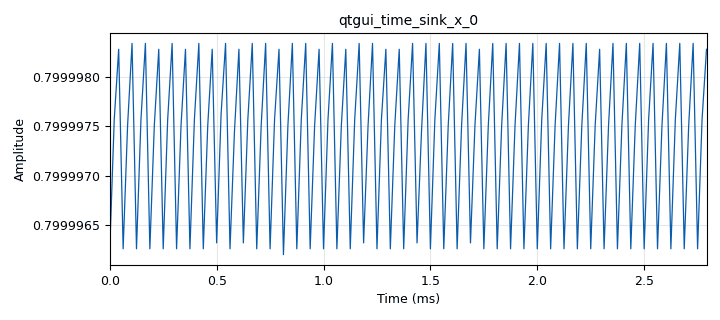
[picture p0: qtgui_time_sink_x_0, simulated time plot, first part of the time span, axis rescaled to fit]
options:
  parameters:
    generate_options: qt_gui
    id: fg_ch11_001
    output_language: python
    title: FG-CH11-001
  states: {}

blocks:
- name: samp_rate
  id: variable
  parameters:
    value: '48000'
  states: {}
- name: analog_sig_source_x_0
  id: analog_sig_source_x
  parameters:
    amp: '0.8'
    freq: '1000'
    offset: '0'
    phase: '0'
    samp_rate: samp_rate
    type: complex
    waveform: analog.GR_COS_WAVE
  states: {}
- name: blocks_complex_to_mag_0
  id: blocks_complex_to_mag
  parameters: {}
  states: {}
- name: blocks_throttle2_0
  id: blocks_throttle2
  parameters:
    samples_per_second: samp_rate
    type: complex
  states: {}
- name: qtgui_time_sink_x_0
  id: qtgui_time_sink_x
  parameters:
    entags: 'False'
    grid: 'True'
    legend: 'False'
    size: '1024'
    srate: samp_rate
    tr_mode: qtgui.TRIG_MODE_AUTO
    type: float
    ymin: '0'
  states: {}

connections:
- [analog_sig_source_x_0, '0', blocks_throttle2_0, '0']
- [blocks_complex_to_mag_0, '0', qtgui_time_sink_x_0, '0']
- [blocks_throttle2_0, '0', blocks_complex_to_mag_0, '0']

metadata:
  file_format: 1
  grc_version: 3.10.12.0
